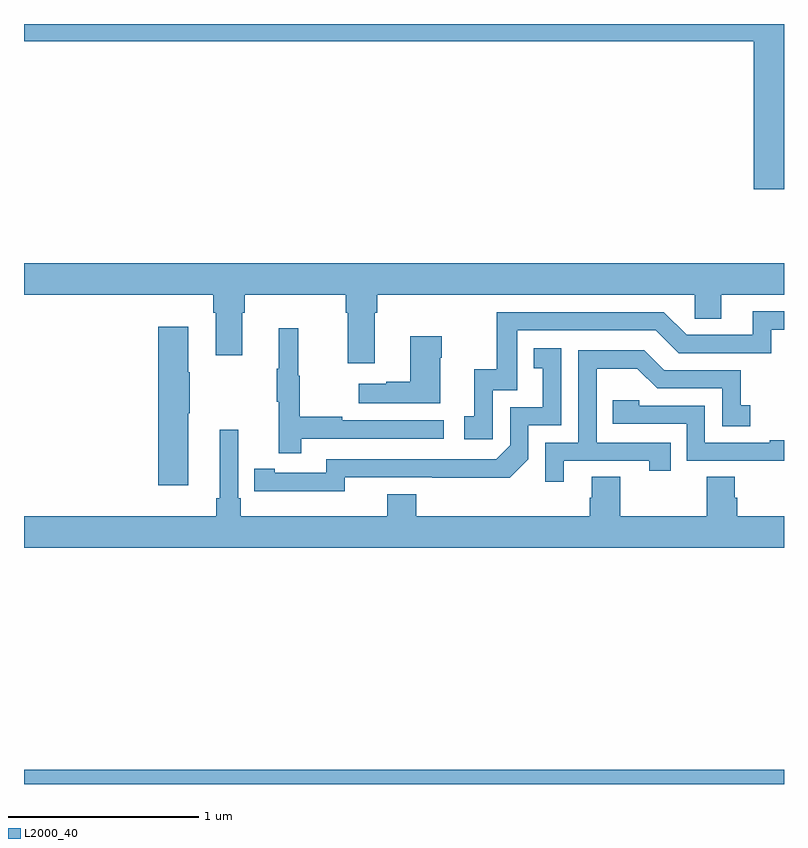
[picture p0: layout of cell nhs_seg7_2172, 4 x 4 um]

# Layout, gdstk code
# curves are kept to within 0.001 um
import gdstk
lib = gdstk.Library(unit=1e-6, precision=1e-09)
def R(c, l, rs):  # rectangles x0, y0, x1, y1
    for r in rs: c.add(gdstk.rectangle(r[:2], r[2:], *l))
def P(c, l, *ps):  # polygons
    for p in ps: c.add(gdstk.Polygon(p, *l))
L2000_40 = (2000, 40)

nhs_seg7_2172 = lib.new_cell('nhs_seg7_2172')
R(nhs_seg7_2172, L2000_40, [(253,1038,257,1038.076)])
P(nhs_seg7_2172, L2000_40, [(257,1042),(253,1042),(253,1041.908),(256.841,1041.908),(256.841,1041.129),(257,1041.129)],
  [(254.845,1040.48),(254.858,1040.48),(254.858,1040.576),(256.53,1040.576),(256.53,1040.449),(256.669,1040.449),(256.669,1040.576),(257,1040.576),(257,1040.74),(253,1040.74),(253,1040.576),(253.997,1040.576),(253.997,1040.48),(254.009,1040.48),(254.009,1040.256),(254.149,1040.256),(254.149,1040.48),(254.162,1040.48),(254.162,1040.576),(254.693,1040.576),(254.693,1040.48),(254.705,1040.48),(254.705,1040.214),(254.845,1040.214)],
  [(255.468,1040.073),(255.597,1040.073),(255.597,1040.388),(256.326,1040.388),(256.446,1040.268),(256.932,1040.268),(256.932,1040.391),(257,1040.391),(257,1040.487),(256.835,1040.487),(256.835,1040.364),(256.488,1040.364),(256.368,1040.484),(255.489,1040.484),(255.489,1040.182),(255.371,1040.182),(255.371,1039.935),(255.318,1039.935),(255.318,1039.815),(255.468,1039.815)],
  [(253.864,1039.951),(253.872,1039.951),(253.872,1040.168),(253.864,1040.168),(253.864,1040.407),(253.706,1040.407),(253.706,1039.572),(253.864,1039.572)],
  [(254.459,1039.818),(255.208,1039.818),(255.208,1039.914),(254.675,1039.914),(254.675,1039.934),(254.452,1039.934),(254.452,1040.148),(254.444,1040.148),(254.444,1040.398),(254.342,1040.398),(254.342,1040.185),(254.331,1040.185),(254.331,1040.011),(254.342,1040.011),(254.342,1039.74),(254.459,1039.74)],
  [(255.19,1040.243),(255.198,1040.243),(255.198,1040.356),(255.032,1040.356),(255.032,1040.117),(254.906,1040.117),(254.906,1040.107),(254.763,1040.107),(254.763,1040.003),(255.19,1040.003)],
  [(254.688,1039.614),(255.556,1039.613),(255.654,1039.71),(255.654,1039.887),(255.828,1039.887),(255.828,1040.293),(255.682,1040.293),(255.682,1040.187),(255.731,1040.187),(255.731,1039.983),(255.558,1039.983),(255.558,1039.782),(255.486,1039.71),(254.592,1039.71),(254.592,1039.638),(254.32,1039.638),(254.32,1039.658),(254.212,1039.658),(254.212,1039.542),(254.688,1039.541)],
  [(255.841,1039.701),(256.292,1039.701),(256.292,1039.65),(256.403,1039.65),(256.403,1039.797),(256.014,1039.797),(256.014,1040.186),(256.228,1040.186),(256.332,1040.082),(256.674,1040.082),(256.674,1039.884),(256.822,1039.884),(256.822,1039.993),(256.773,1039.993),(256.773,1040.178),(256.369,1040.178),(256.264,1040.283),(255.918,1040.283),(255.918,1039.797),(255.744,1039.797),(255.744,1039.59),(255.841,1039.59)],
  [(257,1039.81),(256.925,1039.81),(256.925,1039.797),(256.584,1039.797),(256.584,1039.992),(256.239,1039.992),(256.239,1040.019),(256.099,1040.019),(256.099,1039.896),(256.488,1039.896),(256.488,1039.701),(257,1039.701)],
  [(257,1039.408),(256.754,1039.408),(256.754,1039.506),(256.741,1039.506),(256.741,1039.616),(256.594,1039.616),(256.594,1039.408),(256.137,1039.408),(256.137,1039.616),(255.989,1039.616),(255.989,1039.506),(255.977,1039.506),(255.977,1039.408),(255.065,1039.408),(255.065,1039.525),(254.912,1039.525),(254.912,1039.408),(254.141,1039.408),(254.141,1039.504),(254.127,1039.504),(254.127,1039.864),(254.03,1039.864),(254.03,1039.504),(254.011,1039.504),(254.011,1039.408),(253,1039.408),(253,1039.244),(257,1039.244)])

lib.write_gds('nhs_seg7_2172.gds')
